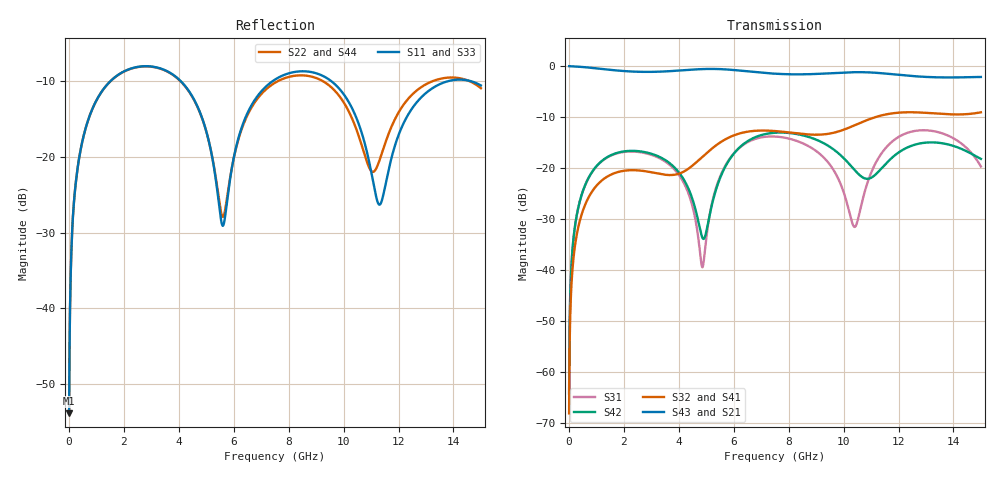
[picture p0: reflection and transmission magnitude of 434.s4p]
! Created with skrf 1.8.0 (http://scikit-rf.org).
# GHz S RI R 50.0
!freq ReS11 ImS11 ReS12 ImS12 ReS13 ImS13
! ReS14 ImS14
! ReS21 ImS21 ReS22 ImS22 ReS23 ImS23
! ReS24 ImS24
! ReS31 ImS31 ReS32 ImS32 ReS33 ImS33
! ReS34 ImS34
! ReS41 ImS41 ReS42 ImS42 ReS43 ImS43
! ReS44 ImS44
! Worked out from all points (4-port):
!   2499 points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, 5 MHz to 15 GHz, reference 50 ohm
!   strongest paths, dB at 5 MHz, 3.476 GHz, 7.19 GHz, 11.1 GHz, 15 GHz:
!     S43: 0.0, -1.0, -1.4, -1.3, -2.1
!     S21: 0.0, -1.1, -1.4, -1.3, -2.1
!     S32: -68.0, -21.3, -12.6, -10.1, -9.1
!     S41: -68.0, -21.3, -12.7, -10.1, -9.1
!     S42: -64.1, -18.3, -13.3, -21.5, -18.2
!     S31: -64.1, -18.6, -13.8, -19.7, -19.7
!   lowest |S11| = -53.9 dB at 5 MHz (marker M1), VSWR 1.00, Z = 50.2 + j0.123 ohm
!   |S11| at or under -10 dB: start of sweep to 1.504 GHz; 4.075 GHz to 7.41 GHz (3.334 GHz wide, 58.1 % of centre); 9.557 GHz to 13.79 GHz (4.233 GHz wide, 36.3 % of centre) (the widest 3 of 4)
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0.005  0.00161 0.00122  0.9984 -0.00313  7.98e-05 0.000616  -7.77e-05 -0.00039
       0.9984 -0.00313  0.00161 0.00122  -7.77e-05 -0.00039  7.99e-05 0.000616
       7.98e-05 0.000616  -7.77e-05 -0.00039  0.00161 0.00122  0.9984 -0.00313
       -7.77e-05 -0.00039  7.99e-05 0.000616  0.9984 -0.00313  0.00161 0.00122
0.3126303  0.0232 0.0807  0.9684 -0.1948  0.0102 0.0367  -0.00861 -0.023
           0.9684 -0.1948  0.0232 0.0807  -0.00862 -0.023  0.0104 0.0366
           0.0102 0.0367  -0.00862 -0.023  0.0232 0.0807  0.9684 -0.1947
           -0.00861 -0.023  0.0104 0.0366  0.9684 -0.1947  0.0232 0.0807
1.519383  0.2593 0.1844  0.5761 -0.7144  0.1163 0.0638  -0.0854 -0.0109
          0.5761 -0.7144  0.258 0.1852  -0.0856 -0.0107  0.1199 0.0593
          0.1163 0.0638  -0.0856 -0.0107  0.2592 0.1845  0.5761 -0.7144
          -0.0854 -0.0109  0.1199 0.0593  0.5761 -0.7144  0.2581 0.1851
5.414756  0.0362 -0.0443  -0.9238 -0.1515  -0.0107 0.0709  -0.0281 0.1696
          -0.9238 -0.1515  0.0415 -0.0432  -0.0249 0.1701  -0.0119 0.0682
          -0.0107 0.0709  -0.0249 0.1701  0.0361 -0.0444  -0.9238 -0.1516
          -0.0281 0.1696  -0.0119 0.0682  -0.9238 -0.1516  0.0415 -0.0429
8.73489  0.3604 -0.064  0.0316 0.8321  0.1583 -0.0419  0.1978 -0.0732
         0.0316 0.8321  0.3401 -0.0407  0.1978 -0.0812  0.1554 -0.1291
         0.1583 -0.0419  0.1978 -0.0812  0.3579 -0.0606  0.0313 0.8326
         0.1978 -0.0732  0.1554 -0.1291  0.0313 0.8326  0.3401 -0.0444
11.44227  0.0529 0.0174  0.849 0.00596  0.0855 0.1197  -0.00494 -0.3317
          0.849 0.00596  0.0962 0.0582  -0.0193 -0.3312  -0.0251 0.1007
          0.0855 0.1197  -0.0193 -0.3312  0.0549 0.0184  0.849 0.00568
          -0.00494 -0.3317  -0.0251 0.1007  0.849 0.00568  0.0923 0.0626
15  0.2855 -0.0811  -0.2388 -0.7455  0.0259 -0.1007  -0.3303 0.1205
    -0.2388 -0.7455  0.2671 -0.0983  -0.3231 0.1416  -0.00403 -0.1233
    0.0259 -0.1007  -0.3231 0.1416  0.2857 -0.0764  -0.2375 -0.7459
    -0.3303 0.1205  -0.00403 -0.1233  -0.2375 -0.7459  0.2667 -0.1024
